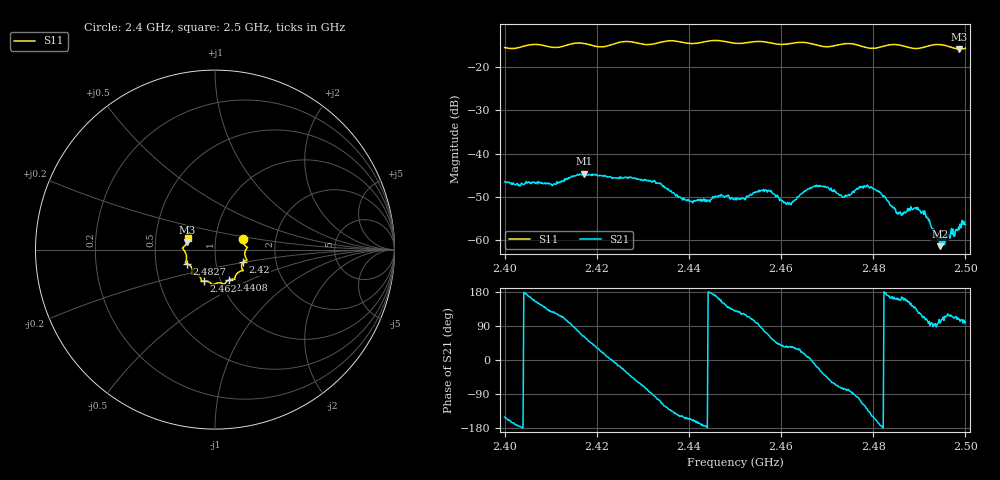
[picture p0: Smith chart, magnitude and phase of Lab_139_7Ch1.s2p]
# Hz S RI R 50
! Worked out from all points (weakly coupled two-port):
!   601 points, 2.4 GHz to 2.5 GHz, reference 50 ohm
!   highest |S21| = -44.67 dB at 2.4173 GHz (marker M1); lowest = -61.4 dB at 2.4945 GHz (marker M2)
!   lowest |S11| = -15.9 dB at 2.4987 GHz (marker M3), VSWR 1.38, Z = 36.5 + j3.23 ohm
!   |S11| at or under -10 dB: start of sweep to end of sweep
!   S12 and S22 are empty: the file has one direction only
!   S11 on the Smith chart (normalised r, x): 2.4 GHz: 1.36, +0.17; 2.42 GHz: 1.36, -0.19; 2.4408 GHz: 1.10, -0.38; 2.462 GHz: 0.83, -0.30; 2.4827 GHz: 0.72, -0.12; 2.5 GHz: 0.73, +0.09
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2.4e9  0.1553 0.0615  -0.00413 -0.0023  0 0  0 0
2.410667e9  0.167 -0.0137  -0.0027 0.00357  0 0  0 0
2.416667e9  0.1786 -0.059  0.00221 0.00524  0 0  0 0
2.417333e9  0.1764 -0.0592  0.00282 0.00511  0 0  0 0
2.42e9  0.1571 -0.0693  0.00483 0.003  0 0  0 0
2.433333e9  0.1118 -0.1526  -0.00104 -0.00441  0 0  0 0
2.440833e9  0.0781 -0.1687  -0.00254 -0.000893  0 0  0 0
2.45e9  0.0273 -0.1851  -0.00187 0.00229  0 0  0 0
2.456333e9  -0.0149 -0.1942  0.000894 0.00355  0 0  0 0
2.462e9  -0.0621 -0.1752  0.00215 0.00148  0 0  0 0
2.466667e9  -0.0764 -0.1683  0.00403 -0.000188  0 0  0 0
2.469667e9  -0.0922 -0.1437  0.00305 -0.00272  0 0  0 0
2.473667e9  -0.1248 -0.136  0.000741 -0.00302  0 0  0 0
2.4785e9  -0.1267 -0.1088  -0.00256 -0.00331  0 0  0 0
2.482667e9  -0.1578 -0.0776  -0.00309 0.000121  0 0  0 0
2.483333e9  -0.1617 -0.0765  -0.00274 0.000583  0 0  0 0
2.485667e9  -0.1639 -0.0708  -0.0019 0.000782  0 0  0 0
2.489167e9  -0.1594 -0.0333  -0.0017 0.00162  0 0  0 0
2.490833e9  -0.1671 -0.0117  -0.000811 0.00201  0 0  0 0
2.4945e9  -0.1806 0.00907  -0.000115 0.000846  0 0  0 0
2.498667e9  -0.1547 0.0431  -0.000421 0.00127  0 0  0 0
2.5e9  -0.1512 0.0626  -0.000253 0.00149  0 0  0 0
